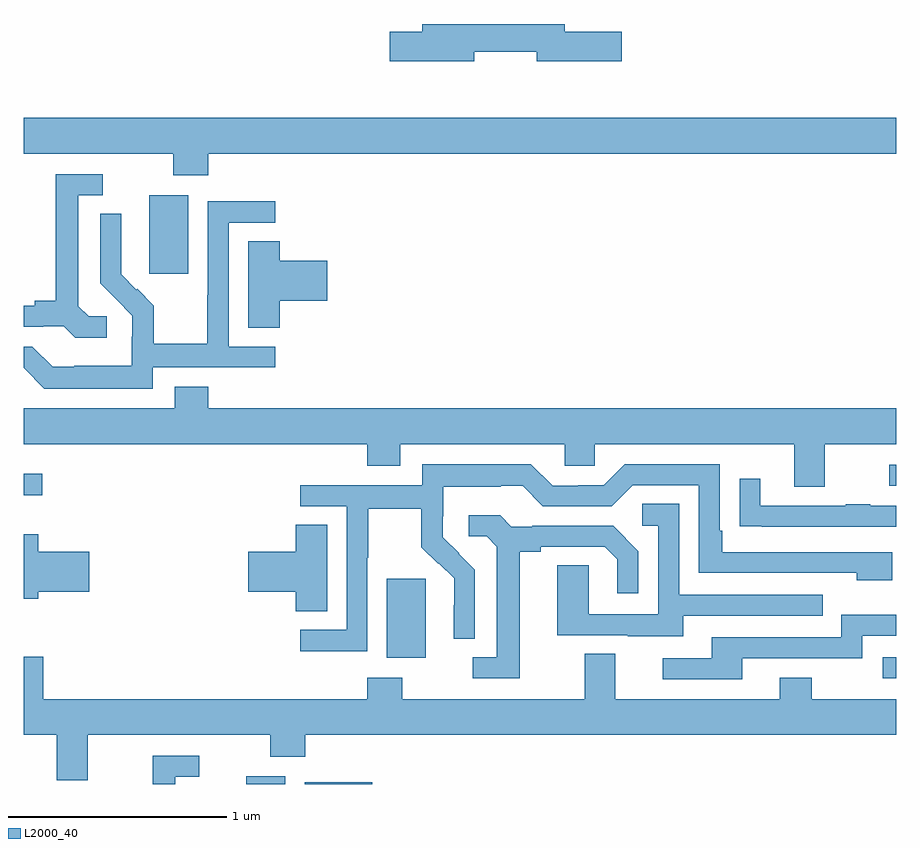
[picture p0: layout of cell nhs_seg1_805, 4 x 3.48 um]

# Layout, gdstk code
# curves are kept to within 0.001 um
import gdstk
lib = gdstk.Library(unit=1e-6, precision=1e-09)
def R(c, l, rs):  # rectangles x0, y0, x1, y1
    for r in rs: c.add(gdstk.rectangle(r[:2], r[2:], *l))
def P(c, l, *ps):  # polygons
    for p in ps: c.add(gdstk.Polygon(p, *l))
L2000_40 = (2000, 40)

nhs_seg1_805 = lib.new_cell('nhs_seg1_805')
R(nhs_seg1_805, L2000_40, [(156.02,526.199,156.199,526.234), (156.288,526.199,156.598,526.206), (158.937,526.683,159,526.779), (156.665,526.778,156.844,527.139), (155,527.523,155.086,527.62), (158.967,527.565,159,527.661), (155.576,528.537,155.755,528.898)])
P(nhs_seg1_805, L2000_40, [(157.066,529.554),(157.352,529.554),(157.352,529.511),(157.741,529.511),(157.741,529.646),(157.48,529.646),(157.48,529.682),(156.827,529.682),(156.827,529.646),(156.678,529.646),(156.678,529.511),(157.066,529.511)],
  [(155.846,529.088),(159,529.088),(159,529.252),(155,529.252),(155,529.088),(155.686,529.088),(155.686,528.989),(155.846,528.989)],
  [(155.38,528.342),(155.298,528.342),(155.251,528.389),(155.251,528.897),(155.362,528.897),(155.362,528.993),(155.147,528.993),(155.147,528.413),(155.051,528.413),(155.051,528.39),(155,528.39),(155,528.294),(155.09,528.294),(155.09,528.297),(155.184,528.297),(155.236,528.245),(155.38,528.245)],
  [(155.592,528.108),(156.154,528.108),(156.154,528.204),(155.94,528.204),(155.94,528.771),(156.154,528.771),(156.154,528.87),(155.844,528.87),(155.844,528.44),(155.842,528.44),(155.842,528.217),(155.597,528.217),(155.597,528.391),(155.52,528.468),(155.517,528.465),(155.447,528.536),(155.448,528.812),(155.352,528.812),(155.352,528.494),(155.498,528.346),(155.498,528.249),(155.496,528.249),(155.496,528.115),(155.233,528.115),(155.233,528.111),(155.133,528.111),(155.04,528.204),(155,528.204),(155,528.106),(155.095,528.011),(155.592,528.011)],
  [(156.173,528.413),(156.391,528.413),(156.391,528.596),(156.173,528.596),(156.173,528.686),(156.029,528.686),(156.029,528.289),(156.173,528.289)],
  [(158.671,527.756),(159,527.756),(159,527.92),(155.846,527.92),(155.846,528.019),(155.693,528.019),(155.693,527.92),(155,527.92),(155,527.756),(156.575,527.756),(156.575,527.657),(156.727,527.657),(156.727,527.756),(157.479,527.756),(157.479,527.658),(157.617,527.658),(157.617,527.756),(158.531,527.756),(158.531,527.562),(158.671,527.562)],
  [(156.576,527.236),(156.579,527.236),(156.579,527.46),(156.823,527.46),(156.823,527.285),(156.9,527.208),(156.903,527.211),(156.974,527.141),(156.974,527.018),(156.972,527.018),(156.972,526.864),(157.068,526.864),(157.068,527.182),(156.922,527.33),(156.922,527.427),(156.924,527.427),(156.924,527.561),(157.187,527.561),(157.187,527.565),(157.287,527.565),(157.38,527.472),(157.695,527.472),(157.791,527.568),(158.094,527.568),(158.094,527.166),(158.819,527.166),(158.819,527.132),(158.98,527.132),(158.98,527.262),(158.203,527.262),(158.203,527.359),(158.19,527.359),(158.19,527.664),(157.755,527.664),(157.659,527.568),(157.541,527.568),(157.541,527.565),(157.425,527.565),(157.325,527.665),(156.828,527.665),(156.828,527.568),(156.267,527.568),(156.267,527.472),(156.48,527.472),(156.48,526.905),(156.267,526.905),(156.267,526.807),(156.576,526.807)],
  [(159,527.475),(158.879,527.475),(158.879,527.48),(158.767,527.48),(158.767,527.475),(158.377,527.475),(158.377,527.599),(158.281,527.599),(158.281,527.38),(158.383,527.38),(158.383,527.379),(159,527.379)],
  [(158.023,526.971),(158.663,526.971),(158.663,527.067),(158.004,527.067),(158.004,527.483),(157.836,527.483),(157.836,527.382),(157.908,527.382),(157.908,526.977),(157.59,526.977),(157.59,527.201),(157.445,527.201),(157.445,526.881),(157.769,526.881),(157.769,526.877),(158.023,526.877)],
  [(157.273,527.264),(157.369,527.264),(157.369,527.286),(157.664,527.286),(157.721,527.229),(157.721,527.073),(157.818,527.073),(157.818,527.266),(157.702,527.382),(157.33,527.382),(157.33,527.379),(157.236,527.379),(157.184,527.431),(157.041,527.431),(157.041,527.334),(157.122,527.334),(157.169,527.287),(157.169,526.779),(157.059,526.779),(157.059,526.683),(157.273,526.683)],
  [(156.391,527.387),(156.248,527.387),(156.248,527.264),(156.03,527.264),(156.03,527.081),(156.248,527.081),(156.248,526.99),(156.391,526.99)],
  [(155.068,527.081),(155.302,527.081),(155.302,527.264),(155.068,527.264),(155.068,527.344),(155,527.344),(155,527.048),(155.068,527.048)],
  [(158.293,526.776),(158.844,526.776),(158.844,526.878),(159,526.878),(159,526.975),(158.748,526.975),(158.748,526.872),(158.153,526.872),(158.153,526.776),(157.929,526.776),(157.929,526.68),(158.293,526.68)],
  [(155.293,526.424),(156.13,526.424),(156.13,526.325),(156.29,526.325),(156.29,526.424),(159,526.424),(159,526.588),(158.613,526.588),(158.613,526.687),(158.465,526.687),(158.465,526.588),(157.711,526.588),(157.711,526.796),(157.571,526.796),(157.571,526.588),(156.735,526.588),(156.735,526.687),(156.575,526.687),(156.575,526.588),(155.09,526.588),(155.09,526.783),(155,526.783),(155,526.424),(155.153,526.424),(155.153,526.216),(155.293,526.216)],
  [(155.695,526.233),(155.806,526.233),(155.806,526.329),(155.591,526.329),(155.591,526.199),(155.695,526.199)])

lib.write_gds('nhs_seg1_805.gds')
